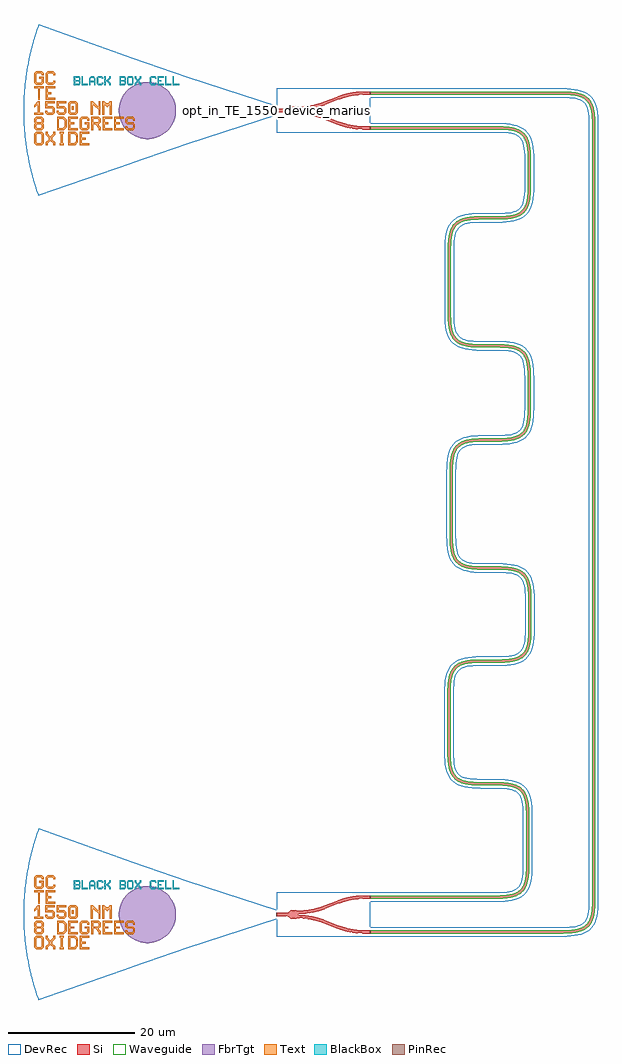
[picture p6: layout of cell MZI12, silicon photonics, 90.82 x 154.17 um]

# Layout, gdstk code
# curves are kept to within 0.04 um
import gdstk
lib = gdstk.Library(unit=1e-6, precision=1e-09)
def R(c, l, rs):  # rectangles x0, y0, x1, y1
    for r in rs: c.add(gdstk.rectangle(r[:2], r[2:], *l))
def P(c, l, *ps):  # polygons
    for p in ps: c.add(gdstk.Polygon(p, *l))
Si = (1, 0)
PinRec = (1, 10)
Waveguide = (1, 99)
Text = (10, 0)
DevRec = (68, 0)
FbrTgt = (81, 0)
BlackBox = (998, 0)

text_1 = lib.new_cell('TEXT$1')
P(text_1, BlackBox, [(0,0),(0,1.4),(0.8,1.4),(1,1.2),(0.2,1.2),(0.2,0.8),(0.7,0.8),(0.8,0.9),(0.8,1.1),(0.7,1.2),(1,1.2),(1,0.8),(0.9,0.7),(1,0.6),(0.2,0.6),(0.2,0.2),(0.7,0.2),(0.8,0.3),(0.8,0.5),(0.7,0.6),(1,0.6),(1,0.2),(0.8,0)],
  [(1.2,0),(1.2,1.4),(1.4,1.4),(1.4,0.2),(2.2,0.2),(2.2,0)],
  [(2.4,0),(2.4,1.1),(2.7,1.4),(3.1,1.4),(3.3,1.2),(2.8,1.2),(2.6,1),(2.6,0.7),(3.2,0.7),(3.2,1),(3,1.2),(3.3,1.2),(3.4,1.1),(3.4,0),(3.2,0),(3.2,0.5),(2.6,0.5),(2.6,0)],
  [(3.8,0),(3.6,0.2),(3.6,1.2),(3.8,1.4),(4.4,1.4),(4.6,1.2),(4.6,1),(4.4,1),(4.4,1.1),(4.3,1.2),(3.9,1.2),(3.8,1.1),(3.8,0.3),(3.9,0.2),(4.3,0.2),(4.4,0.3),(4.4,0.4),(4.6,0.4),(4.6,0.2),(4.4,0)],
  [(4.8,0),(4.8,1.4),(5,1.4),(5,0.8),(5.2,0.8),(5.6,1.2),(5.6,1.4),(5.8,1.4),(5.8,1.1),(5.4,0.7),(5.8,0.3),(5.8,0),(5.6,0),(5.6,0.2),(5.2,0.6),(5,0.6),(5,0)],
  [(7.2,0),(7.2,1.4),(8,1.4),(8.2,1.2),(7.4,1.2),(7.4,0.8),(7.9,0.8),(8,0.9),(8,1.1),(7.9,1.2),(8.2,1.2),(8.2,0.8),(8.1,0.7),(8.2,0.6),(7.4,0.6),(7.4,0.2),(7.9,0.2),(8,0.3),(8,0.5),(7.9,0.6),(8.2,0.6),(8.2,0.2),(8,0)],
  [(8.6,0),(8.4,0.2),(8.4,1.2),(8.6,1.4),(9.2,1.4),(9.4,1.2),(9.4,0.7),(9.2,0.7),(9.2,1.1),(9.1,1.2),(8.7,1.2),(8.6,1.1),(8.6,0.3),(8.7,0.2),(9.1,0.2),(9.2,0.3),(9.2,0.7),(9.4,0.7),(9.4,0.2),(9.2,0)],
  [(9.6,0),(9.6,0.3),(9.9,0.6),(9.9,0.8),(9.6,1.1),(9.6,1.4),(9.8,1.4),(9.8,1.2),(10.1,0.9),(10.4,1.2),(10.4,1.4),(10.6,1.4),(10.6,1.1),(10.3,0.8),(10.3,0.6),(10.6,0.3),(10.6,0),(10.4,0),(10.4,0.2),(10.1,0.5),(9.8,0.2),(9.8,0)],
  [(12.2,0),(12,0.2),(12,1.2),(12.2,1.4),(12.8,1.4),(13,1.2),(13,1),(12.8,1),(12.8,1.1),(12.7,1.2),(12.3,1.2),(12.2,1.1),(12.2,0.3),(12.3,0.2),(12.7,0.2),(12.8,0.3),(12.8,0.4),(13,0.4),(13,0.2),(12.8,0)],
  [(13.2,0),(13.2,1.4),(14.2,1.4),(14.2,1.2),(13.4,1.2),(13.4,0.8),(13.8,0.8),(13.8,0.6),(13.4,0.6),(13.4,0.2),(14.2,0.2),(14.2,0)],
  [(14.4,0),(14.4,1.4),(14.6,1.4),(14.6,0.2),(15.4,0.2),(15.4,0)],
  [(15.6,0),(15.6,1.4),(15.8,1.4),(15.8,0.2),(16.6,0.2),(16.6,0)])

gc_te_1550_8degoxide_bb = lib.new_cell('GC_TE_1550_8degOxide_BB')
R(gc_te_1550_8degoxide_bb, Text, [(-32.313,0.092,-32.013,0.692)])
P(gc_te_1550_8degoxide_bb, Text, [(-37.67,1.71),(-37.67,3.51),(-38.27,3.51),(-38.27,3.81),(-36.77,3.81),(-36.77,3.51),(-37.37,3.51),(-37.37,1.71)],
  [(-37.97,-5.49),(-38.27,-5.19),(-38.27,-3.69),(-37.97,-3.39),(-37.07,-3.39),(-36.77,-3.69),(-36.77,-4.44),(-37.07,-4.44),(-37.07,-3.84),(-37.22,-3.69),(-37.82,-3.69),(-37.97,-3.84),(-37.97,-5.04),(-37.82,-5.19),(-37.22,-5.19),(-37.07,-5.04),(-37.07,-4.44),(-36.77,-4.44),(-36.77,-5.19),(-37.07,-5.49)],
  [(-31.07,-5.49),(-31.07,-3.39),(-29.57,-3.39),(-29.57,-3.69),(-30.77,-3.69),(-30.77,-4.29),(-30.17,-4.29),(-30.17,-4.59),(-30.77,-4.59),(-30.77,-5.19),(-29.57,-5.19),(-29.57,-5.49)],
  [(-32.87,-3.09),(-32.87,-0.99),(-31.37,-0.99),(-31.37,-1.29),(-32.57,-1.29),(-32.57,-1.89),(-31.97,-1.89),(-31.97,-2.19),(-32.57,-2.19),(-32.57,-2.79),(-31.37,-2.79),(-31.37,-3.09)],
  [(-27.47,-3.09),(-27.47,-0.99),(-25.97,-0.99),(-25.97,-1.29),(-27.17,-1.29),(-27.17,-1.89),(-26.57,-1.89),(-26.57,-2.19),(-27.17,-2.19),(-27.17,-2.79),(-25.97,-2.79),(-25.97,-3.09)],
  [(-25.67,-3.09),(-25.67,-0.99),(-24.17,-0.99),(-24.17,-1.29),(-25.37,-1.29),(-25.37,-1.89),(-24.77,-1.89),(-24.77,-2.19),(-25.37,-2.19),(-25.37,-2.79),(-24.17,-2.79),(-24.17,-3.09)],
  [(-36.47,1.71),(-36.47,3.81),(-34.97,3.81),(-34.97,3.51),(-36.17,3.51),(-36.17,2.91),(-35.57,2.91),(-35.57,2.61),(-36.17,2.61),(-36.17,2.01),(-34.97,2.01),(-34.97,1.71)],
  [(-29.313,-0.658),(-29.313,1.442),(-29.013,1.442),(-28.263,0.692),(-28.113,0.692),(-28.113,1.442),(-27.813,1.442),(-27.813,-0.658),(-28.113,-0.658),(-28.113,0.092),(-28.863,0.842),(-29.013,0.842),(-29.013,-0.658)],
  [(-34.22,-5.49),(-34.22,-5.19),(-34.07,-5.19),(-34.07,-3.69),(-34.22,-3.69),(-34.22,-3.39),(-33.62,-3.39),(-33.62,-3.69),(-33.77,-3.69),(-33.77,-5.19),(-33.62,-5.19),(-33.62,-5.49)],
  [(-36.17,4.11),(-36.47,4.41),(-36.47,5.91),(-36.17,6.21),(-35.27,6.21),(-34.97,5.91),(-34.97,5.61),(-35.27,5.61),(-35.27,5.76),(-35.42,5.91),(-36.02,5.91),(-36.17,5.76),(-36.17,4.56),(-36.02,4.41),(-35.42,4.41),(-35.27,4.56),(-35.27,4.71),(-34.97,4.71),(-34.97,4.41),(-35.27,4.11)],
  [(-27.513,-0.658),(-27.513,1.442),(-27.213,1.442),(-26.913,1.142),(-26.613,1.142),(-26.313,1.442),(-26.013,1.442),(-26.013,-0.658),(-26.313,-0.658),(-26.313,0.842),(-26.463,0.842),(-26.763,0.542),(-27.063,0.842),(-27.213,0.842),(-27.213,-0.658)],
  [(-32.613,-0.658),(-32.913,-0.358),(-32.913,1.142),(-32.613,1.442),(-31.713,1.442),(-31.413,1.142),(-32.463,1.142),(-32.613,0.992),(-32.613,-0.208),(-32.463,-0.358),(-31.863,-0.358),(-31.713,-0.208),(-31.713,0.992),(-31.863,1.142),(-31.413,1.142),(-31.413,-0.358),(-31.713,-0.658)],
  [(-32.87,-5.49),(-32.87,-3.39),(-31.82,-3.39),(-31.52,-3.69),(-32.57,-3.69),(-32.57,-5.19),(-31.97,-5.19),(-31.67,-4.89),(-31.67,-3.99),(-31.97,-3.69),(-31.52,-3.69),(-31.37,-3.84),(-31.37,-5.04),(-31.82,-5.49)],
  [(-34.67,-3.09),(-34.67,-0.99),(-33.62,-0.99),(-33.32,-1.29),(-34.37,-1.29),(-34.37,-2.79),(-33.77,-2.79),(-33.47,-2.49),(-33.47,-1.59),(-33.77,-1.29),(-33.32,-1.29),(-33.17,-1.44),(-33.17,-2.64),(-33.62,-3.09)],
  [(-23.57,-3.09),(-23.87,-2.79),(-23.87,-2.49),(-23.57,-2.49),(-23.57,-2.64),(-23.42,-2.79),(-22.82,-2.79),(-22.67,-2.64),(-22.67,-2.34),(-22.82,-2.19),(-23.57,-2.19),(-23.87,-1.89),(-23.87,-1.29),(-23.57,-0.99),(-22.67,-0.99),(-22.37,-1.29),(-22.37,-1.59),(-22.67,-1.59),(-22.67,-1.44),(-22.82,-1.29),(-23.42,-1.29),(-23.57,-1.44),(-23.57,-1.74),(-23.42,-1.89),(-22.67,-1.89),(-22.37,-2.19),(-22.37,-2.79),(-22.67,-3.09)],
  [(-36.213,-0.658),(-36.513,-0.358),(-36.513,-0.058),(-36.213,-0.058),(-36.213,-0.208),(-36.063,-0.358),(-35.463,-0.358),(-35.313,-0.208),(-35.313,0.242),(-35.463,0.392),(-36.513,0.392),(-36.513,1.442),(-35.013,1.442),(-35.013,1.142),(-36.213,1.142),(-36.213,0.692),(-35.313,0.692),(-35.013,0.392),(-35.013,-0.358),(-35.313,-0.658)],
  [(-34.413,-0.658),(-34.713,-0.358),(-34.713,-0.058),(-34.413,-0.058),(-34.413,-0.208),(-34.263,-0.358),(-33.663,-0.358),(-33.513,-0.208),(-33.513,0.242),(-33.663,0.392),(-34.713,0.392),(-34.713,1.442),(-33.213,1.442),(-33.213,1.142),(-34.413,1.142),(-34.413,0.692),(-33.513,0.692),(-33.213,0.392),(-33.213,-0.358),(-33.513,-0.658)],
  [(-37.97,-3.09),(-38.27,-2.79),(-38.27,-2.19),(-38.12,-2.04),(-38.27,-1.89),(-38.27,-1.29),(-37.97,-0.99),(-37.07,-0.99),(-36.77,-1.29),(-37.82,-1.29),(-37.97,-1.44),(-37.97,-1.74),(-37.82,-1.89),(-37.22,-1.89),(-37.07,-1.74),(-37.07,-1.44),(-37.22,-1.29),(-36.77,-1.29),(-36.77,-1.89),(-36.92,-2.04),(-36.77,-2.19),(-37.82,-2.19),(-37.97,-2.34),(-37.97,-2.64),(-37.82,-2.79),(-37.22,-2.79),(-37.07,-2.64),(-37.07,-2.34),(-37.22,-2.19),(-36.77,-2.19),(-36.77,-2.79),(-37.07,-3.09)],
  [(-38.313,-0.658),(-38.313,-0.358),(-37.713,-0.358),(-37.713,0.842),(-37.863,0.842),(-38.163,0.542),(-38.313,0.542),(-38.313,0.842),(-37.713,1.442),(-37.413,1.442),(-37.413,-0.358),(-36.813,-0.358),(-36.813,-0.658)],
  [(-36.47,-5.49),(-36.47,-5.04),(-36.02,-4.59),(-36.02,-4.29),(-36.47,-3.84),(-36.47,-3.39),(-36.17,-3.39),(-36.17,-3.69),(-35.72,-4.14),(-35.27,-3.69),(-35.27,-3.39),(-34.97,-3.39),(-34.97,-3.84),(-35.42,-4.29),(-35.42,-4.59),(-34.97,-5.04),(-34.97,-5.49),(-35.27,-5.49),(-35.27,-5.19),(-35.72,-4.74),(-36.17,-5.19),(-36.17,-5.49)],
  [(-30.77,-3.09),(-31.07,-2.79),(-31.07,-1.29),(-30.77,-0.99),(-29.87,-0.99),(-29.57,-1.29),(-29.57,-1.59),(-29.87,-1.59),(-29.87,-1.44),(-30.02,-1.29),(-30.62,-1.29),(-30.77,-1.44),(-30.77,-2.64),(-30.62,-2.79),(-30.02,-2.79),(-29.87,-2.64),(-29.87,-2.19),(-30.32,-2.19),(-30.32,-1.89),(-29.57,-1.89),(-29.57,-2.79),(-29.87,-3.09)],
  [(-37.97,4.11),(-38.27,4.41),(-38.27,5.91),(-37.97,6.21),(-37.07,6.21),(-36.77,5.91),(-36.77,5.61),(-37.07,5.61),(-37.07,5.76),(-37.22,5.91),(-37.82,5.91),(-37.97,5.76),(-37.97,4.56),(-37.82,4.41),(-37.22,4.41),(-37.07,4.56),(-37.07,5.01),(-37.52,5.01),(-37.52,5.31),(-36.77,5.31),(-36.77,4.41),(-37.07,4.11)],
  [(-29.27,-3.09),(-29.27,-0.99),(-28.07,-0.99),(-27.77,-1.29),(-28.97,-1.29),(-28.97,-1.89),(-28.22,-1.89),(-28.07,-1.74),(-28.07,-1.44),(-28.22,-1.29),(-27.77,-1.29),(-27.77,-1.89),(-28.07,-2.19),(-28.07,-2.34),(-27.77,-2.64),(-27.77,-3.09),(-28.07,-3.09),(-28.07,-2.79),(-28.67,-2.19),(-28.97,-2.19),(-28.97,-3.09)])
P(gc_te_1550_8degoxide_bb, DevRec, [(-37.607,-13.5),(-38.627,-10.245),(-39.378,-6.832),(-39.647,-5.058),(-39.835,-3.274),(-39.969,0.224),(-39.812,3.541),(-39.331,7.097),(-38.557,10.505),(-37.546,13.669),(-22.8,8.353),(-14.109,5.36),(0,0.75),(0,-0.75),(-14.109,-5.36)])
P(gc_te_1550_8degoxide_bb, FbrTgt, [(-20.621,-4.5),(-21.495,-4.37),(-22.326,-4.073),(-23.084,-3.619),(-23.738,-3.026),(-24.264,-2.316),(-24.642,-1.518),(-24.857,-0.661),(-24.9,0.221),(-24.77,1.095),(-24.473,1.926),(-24.019,2.684),(-23.426,3.338),(-22.716,3.864),(-21.918,4.242),(-21.061,4.457),(-20.179,4.5),(-19.305,4.37),(-18.474,4.073),(-17.716,3.619),(-17.062,3.026),(-16.536,2.316),(-16.158,1.518),(-15.943,0.661),(-15.9,-0.221),(-16.03,-1.095),(-16.327,-1.926),(-16.781,-2.684),(-17.374,-3.338),(-18.084,-3.864),(-18.882,-4.242),(-19.739,-4.457)])
gc_te_1550_8degoxide_bb.add(gdstk.FlexPath([(-0.01,0),(0.01,0)], 0.5, ends="flush", simple_path=True, layer=1, datatype=10))  # PinRec
gc_te_1550_8degoxide_bb.add(gdstk.Reference(text_1, (-32,4)))
gc_te_1550_8degoxide_bb.add(gdstk.Label('opt1', (0,0), layer=1, texttype=10))
gc_te_1550_8degoxide_bb.add(gdstk.Label('Component=GC_TE_1550_8degOxide_BB', (-28,-5), layer=68, texttype=0))

ebeam_y_1550 = lib.new_cell('ebeam_y_1550')
R(ebeam_y_1550, Si, [(6.5,-3,7.4,-2.5), (-7.4,-0.25,-6,0.25), (6.5,2.5,7.4,3)])
P(ebeam_y_1550, Si, [(6.458,-3),(6.237,-2.997),(6.237,-2.497),(6.5,-2.5),(6.5,-3)],
  [(5.033,-2.908),(3.59,-2.634),(2.265,-2.21),(2.445,-1.744),(3.731,-2.154),(5.033,-2.404)],
  [(6.233,-2.997),(5.033,-2.908),(5.033,-2.404),(6.237,-2.497)],
  [(2.265,-2.21),(0.055,-1.356),(0.235,-0.89),(2.445,-1.744)],
  [(-0.762,-1.076),(-2.334,-0.724),(-4,-0.6),(-4,-0.1),(-2.381,-0.212),(-0.762,-0.555)],
  [(0.055,-1.356),(-0.762,-1.076),(-0.762,-0.555),(0.235,-0.89)],
  [(6.237,2.497),(6.237,2.997),(6.5,3),(6.5,2.5)],
  [(2.445,1.744),(2.267,2.211),(3.59,2.634),(5.033,2.908),(5.033,2.404),(3.731,2.154)],
  [(5.033,2.404),(5.033,2.908),(6.237,2.997),(6.237,2.497)],
  [(0.235,0.89),(0.055,1.356),(2.265,2.21),(2.445,1.744)],
  [(-4,0.1),(-4,0.6),(-2.334,0.724),(-0.762,1.076),(-0.762,0.555),(-2.381,0.212)],
  [(-0.762,0.555),(-0.762,1.076),(0.055,1.356),(0.235,0.89)],
  [(-5.122,-0.662),(-5.442,-0.374),(-5.808,-0.255),(-6,-0.25),(-6,0.25),(-5.817,0.253),(-5.442,0.374),(-5.122,0.662)],
  [(-4.957,-0.703),(-5.122,-0.662),(-5.122,0.662),(-4.538,0.703),(-4,0.6),(-4,-0.6),(-4.509,-0.701)])
R(ebeam_y_1550, DevRec, [(-7.4,-3.5,7.4,3.5)])
ebeam_y_1550.add(gdstk.FlexPath([(-7.35,0),(-7.45,0)], 0.5, ends="flush", simple_path=True, layer=1, datatype=10))  # PinRec
ebeam_y_1550.add(gdstk.FlexPath([(7.35,2.75),(7.45,2.75)], 0.5, ends="flush", simple_path=True, layer=1, datatype=10))  # PinRec
ebeam_y_1550.add(gdstk.FlexPath([(7.35,-2.75),(7.45,-2.75)], 0.5, ends="flush", simple_path=True, layer=1, datatype=10))  # PinRec
ebeam_y_1550.add(gdstk.Label('opt2', (7.4,2.75), layer=1, texttype=10))
ebeam_y_1550.add(gdstk.Label('opt3', (7.4,-2.75), layer=1, texttype=10))
ebeam_y_1550.add(gdstk.Label('opt1', (-7.4,0), layer=1, texttype=10))
ebeam_y_1550.add(gdstk.Label('Component=ebeam_y_1550', (-6,1.5), layer=68, texttype=0))
ebeam_y_1550.add(gdstk.Label('Lumerical_INTERCONNECT_library=Design kits/ebeam', (-6.86,-2.19), layer=68, texttype=0))
ebeam_y_1550.add(gdstk.Label('Ref: Y Zhang, Opt. Express, 21/1, 2013', (-7.5,-1), layer=10, texttype=0))

waveguide_18 = lib.new_cell('Waveguide$18')
P(waveguide_18, Si, [(54.769,10.5),(54.769,11),(86.278,11.039),(87.551,11.229),(88.165,11.437),(88.565,11.657),(88.894,11.927),(89.165,12.257),(89.385,12.657),(89.593,13.271),(89.768,14.365),(89.821,15.75),(89.821,138.25),(89.767,139.636),(89.592,140.73),(89.384,141.344),(89.164,141.744),(88.894,142.073),(88.564,142.344),(88.164,142.564),(87.55,142.772),(86.277,142.962),(54.769,143),(54.769,143.5),(85.292,143.499),(86.684,143.427),(87.674,143.256),(88.368,143.02),(88.842,142.76),(89.248,142.427),(89.651,141.911),(89.895,141.418),(90.113,140.7),(90.247,139.864),(90.316,138.688),(90.321,15.75),(90.266,14.319),(90.077,13.147),(89.841,12.453),(89.581,11.979),(89.248,11.573),(88.843,11.241),(88.369,10.981),(87.822,10.785),(86.314,10.541)])
P(waveguide_18, Waveguide, [(54.769,10.5),(54.769,11),(86.278,11.039),(87.551,11.229),(88.165,11.437),(88.565,11.657),(88.894,11.927),(89.165,12.257),(89.385,12.657),(89.593,13.271),(89.768,14.365),(89.821,15.75),(89.821,138.25),(89.767,139.636),(89.592,140.73),(89.384,141.344),(89.164,141.744),(88.894,142.073),(88.564,142.344),(88.164,142.564),(87.55,142.772),(86.277,142.962),(54.769,143),(54.769,143.5),(85.292,143.499),(86.684,143.427),(87.674,143.256),(88.368,143.02),(88.842,142.76),(89.248,142.427),(89.651,141.911),(89.895,141.418),(90.113,140.7),(90.247,139.864),(90.316,138.688),(90.321,15.75),(90.266,14.319),(90.077,13.147),(89.841,12.453),(89.581,11.979),(89.248,11.573),(88.843,11.241),(88.369,10.981),(87.822,10.785),(86.314,10.541)])
P(waveguide_18, DevRec, [(54.769,10),(54.769,11.5),(85.071,11.5),(86.302,11.543),(87.265,11.676),(88.23,12.036),(88.447,12.193),(88.786,12.592),(89.146,13.557),(89.279,14.52),(89.321,15.75),(89.321,138.25),(89.223,139.995),(89.045,140.826),(88.925,141.146),(88.628,141.626),(88.446,141.808),(87.966,142.105),(86.815,142.403),(85.72,142.49),(54.769,142.5),(54.769,144),(85.071,144),(86.421,143.954),(87.58,143.791),(88.58,143.473),(89.021,143.239),(89.42,142.948),(90.059,142.201),(90.293,141.76),(90.611,140.76),(90.81,138.952),(90.821,15.75),(90.775,14.4),(90.612,13.241),(90.294,12.241),(90.06,11.8),(89.421,11.053),(89.022,10.762),(88.099,10.346),(87.581,10.21),(86.422,10.047),(85.084,10)])
waveguide_18.add(gdstk.FlexPath([(54.779,143.25),(54.759,143.25)], 0.5, ends="flush", simple_path=True, layer=1, datatype=10))  # PinRec
waveguide_18.add(gdstk.FlexPath([(54.779,10.75),(54.759,10.75)], 0.5, ends="flush", simple_path=True, layer=1, datatype=10))  # PinRec
waveguide_18.add(gdstk.Label('opt1', (54.769,143.25), layer=1, texttype=10))
waveguide_18.add(gdstk.Label('opt2', (54.769,10.75), layer=1, texttype=10))
waveguide_18.add(gdstk.Label('Lumerical_INTERCONNECT_library=Design kits/EBeam', (54.769,143.15), layer=68, texttype=0))
waveguide_18.add(gdstk.Label('Component=ebeam_wg_integral_1550', (54.769,143.35), layer=68, texttype=0))
waveguide_18.add(gdstk.Label('cellName=Waveguide', (54.769,143.45), layer=68, texttype=0))
waveguide_18.add(gdstk.Label('Spice_param:wg_length=0.000200001 wg_width=5e-07 points="[[54.769,143.25],[90.071,143.25],[90.071,10.75],[54.769,10.75]]" radius=5e-06', (54.769,143.25), layer=68, texttype=0))
waveguide_18.add(gdstk.Label('Length=200.001 (microns)', (54.769,142.65), layer=68, texttype=0))
waveguide_18.add(gdstk.Label('waveguide_type=Strip TE 1550 nm, w=500 nm', (54.769,143.05), layer=68, texttype=0))

waveguide_19 = lib.new_cell('Waveguide$19')
P(waveguide_19, Si, [(54.769,16),(54.769,16.5),(74.639,16.5),(76.368,16.591),(77.504,16.845),(77.943,17.041),(78.386,17.354),(78.733,17.757),(78.953,18.157),(79.252,19.206),(79.388,21.033),(79.384,29.578),(79.276,31.04),(78.999,32.132),(78.732,32.644),(78.306,33.116),(77.839,33.413),(77.251,33.636),(76.528,33.788),(75.66,33.873),(71.561,33.91),(70.078,34.046),(69.315,34.228),(68.665,34.503),(68.126,34.884),(67.776,35.27),(67.439,35.853),(67.243,36.4),(67.077,37.187),(66.986,38.101),(66.959,48.533),(67.054,50.321),(67.334,51.563),(67.777,52.411),(68.127,52.797),(68.549,53.111),(69.459,53.496),(70.596,53.707),(71.772,53.776),(75.819,53.798),(76.718,53.871),(77.469,54.009),(78.293,54.321),(78.812,54.707),(79.199,55.227),(79.511,56.051),(79.649,56.802),(79.73,57.899),(79.721,64.06),(79.648,64.959),(79.51,65.71),(79.302,66.324),(78.954,66.898),(78.571,67.261),(78.082,67.544),(77.468,67.752),(76.878,67.868),(75.62,67.971),(71.508,68.008),(69.954,68.225),(69.135,68.52),(68.574,68.879),(68.125,69.35),(67.788,69.933),(67.453,71.1),(67.317,72.583),(67.308,83.463),(67.403,85.251),(67.683,86.493),(67.911,87.004),(68.207,87.444),(68.575,87.812),(69.015,88.108),(69.955,88.466),(71.127,88.655),(75.521,88.72),(76.934,88.848),(77.631,89.014),(78.193,89.251),(78.557,89.495),(78.92,89.878),(79.203,90.367),(79.375,90.848),(79.601,92.254),(79.639,98.32),(79.548,100.049),(79.335,101.062),(78.982,101.814),(78.471,102.351),(77.753,102.726),(77.085,102.905),(76.095,103.032),(71.621,103.08),(70.138,103.216),(69.375,103.398),(68.725,103.673),(68.186,104.054),(67.759,104.549),(67.499,105.023),(67.263,105.717),(67.046,107.271),(67.019,118.543),(67.114,120.331),(67.394,121.573),(67.622,122.084),(67.918,122.524),(68.286,122.892),(68.726,123.188),(69.666,123.546),(70.838,123.735),(75.531,123.8),(76.944,123.928),(77.641,124.094),(78.203,124.331),(78.567,124.575),(78.93,124.958),(79.213,125.447),(79.421,126.061),(79.559,126.812),(79.632,127.711),(79.644,133.178),(79.595,134.136),(79.453,135.092),(79.108,136.054),(78.864,136.418),(78.481,136.781),(77.64,137.197),(76.284,137.447),(74.899,137.5),(54.769,137.5),(54.769,138),(75.12,137.999),(77.029,137.855),(78.196,137.52),(78.981,137.017),(79.546,136.294),(79.774,135.783),(79.941,135.2),(80.075,134.364),(80.139,133.398),(80.148,128.319),(80.055,126.75),(79.822,125.647),(79.48,124.88),(79.076,124.363),(78.56,123.96),(77.793,123.618),(77.03,123.436),(75.949,123.318),(71.638,123.281),(70.225,123.153),(69.528,122.987),(68.966,122.75),(68.523,122.437),(68.176,122.034),(67.956,121.634),(67.748,121.02),(67.61,120.269),(67.537,119.37),(67.557,107.114),(67.747,105.841),(68.059,105.017),(68.303,104.653),(68.601,104.355),(69.287,103.96),(70.072,103.736),(71.062,103.609),(75.536,103.561),(77.019,103.425),(77.782,103.243),(78.311,103.031),(78.769,102.753),(79.24,102.304),(79.536,101.864),(79.811,101.214),(79.993,100.451),(80.098,99.563),(80.138,93.239),(80.021,91.497),(79.765,90.428),(79.399,89.689),(78.77,89.028),(78.057,88.636),(77.182,88.386),(76.132,88.251),(71.927,88.201),(70.514,88.073),(69.817,87.907),(69.255,87.67),(68.812,87.357),(68.465,86.954),(68.245,86.554),(68.037,85.94),(67.899,85.189),(67.826,84.29),(67.817,72.599),(67.945,71.186),(68.244,70.137),(68.464,69.737),(68.735,69.407),(69.064,69.137),(69.464,68.917),(70.216,68.676),(71.351,68.519),(75.636,68.471),(77.119,68.335),(77.882,68.153),(78.411,67.941),(78.869,67.663),(79.34,67.214),(79.636,66.774),(79.911,66.124),(80.183,64.662),(80.239,63.233),(80.238,58.309),(80.184,57.099),(79.955,55.78),(79.57,54.87),(78.973,54.179),(78.157,53.706),(77.282,53.456),(76.232,53.321),(71.578,53.271),(70.165,53.143),(69.468,52.977),(68.906,52.74),(68.463,52.427),(68.116,52.024),(67.896,51.624),(67.688,51.01),(67.55,50.259),(67.477,49.36),(67.463,38.723),(67.571,37.261),(67.848,36.169),(68.312,35.404),(68.626,35.12),(69.008,34.888),(69.867,34.596),(71.002,34.439),(75.286,34.391),(76.931,34.225),(77.671,34.026),(78.299,33.731),(78.816,33.327),(79.219,32.811),(79.463,32.318),(79.681,31.6),(79.815,30.764),(79.879,29.798),(79.888,21.029),(79.744,19.12),(79.562,18.357),(79.35,17.828),(79.072,17.37),(78.722,16.984),(78.3,16.67),(77.807,16.426),(77.243,16.245),(76.43,16.095),(74.642,16)])
P(waveguide_19, Waveguide, [(54.769,16),(54.769,16.5),(74.639,16.5),(76.368,16.591),(77.504,16.845),(77.943,17.041),(78.386,17.354),(78.733,17.757),(78.953,18.157),(79.252,19.206),(79.388,21.033),(79.384,29.578),(79.276,31.04),(78.999,32.132),(78.732,32.644),(78.306,33.116),(77.839,33.413),(77.251,33.636),(76.528,33.788),(75.66,33.873),(71.561,33.91),(70.078,34.046),(69.315,34.228),(68.665,34.503),(68.126,34.884),(67.776,35.27),(67.439,35.853),(67.243,36.4),(67.077,37.187),(66.986,38.101),(66.959,48.533),(67.054,50.321),(67.334,51.563),(67.777,52.411),(68.127,52.797),(68.549,53.111),(69.459,53.496),(70.596,53.707),(71.772,53.776),(75.819,53.798),(76.718,53.871),(77.469,54.009),(78.293,54.321),(78.812,54.707),(79.199,55.227),(79.511,56.051),(79.649,56.802),(79.73,57.899),(79.721,64.06),(79.648,64.959),(79.51,65.71),(79.302,66.324),(78.954,66.898),(78.571,67.261),(78.082,67.544),(77.468,67.752),(76.878,67.868),(75.62,67.971),(71.508,68.008),(69.954,68.225),(69.135,68.52),(68.574,68.879),(68.125,69.35),(67.788,69.933),(67.453,71.1),(67.317,72.583),(67.308,83.463),(67.403,85.251),(67.683,86.493),(67.911,87.004),(68.207,87.444),(68.575,87.812),(69.015,88.108),(69.955,88.466),(71.127,88.655),(75.521,88.72),(76.934,88.848),(77.631,89.014),(78.193,89.251),(78.557,89.495),(78.92,89.878),(79.203,90.367),(79.375,90.848),(79.601,92.254),(79.639,98.32),(79.548,100.049),(79.335,101.062),(78.982,101.814),(78.471,102.351),(77.753,102.726),(77.085,102.905),(76.095,103.032),(71.621,103.08),(70.138,103.216),(69.375,103.398),(68.725,103.673),(68.186,104.054),(67.759,104.549),(67.499,105.023),(67.263,105.717),(67.046,107.271),(67.019,118.543),(67.114,120.331),(67.394,121.573),(67.622,122.084),(67.918,122.524),(68.286,122.892),(68.726,123.188),(69.666,123.546),(70.838,123.735),(75.531,123.8),(76.944,123.928),(77.641,124.094),(78.203,124.331),(78.567,124.575),(78.93,124.958),(79.213,125.447),(79.421,126.061),(79.559,126.812),(79.632,127.711),(79.644,133.178),(79.595,134.136),(79.453,135.092),(79.108,136.054),(78.864,136.418),(78.481,136.781),(77.64,137.197),(76.284,137.447),(74.899,137.5),(54.769,137.5),(54.769,138),(75.12,137.999),(77.029,137.855),(78.196,137.52),(78.981,137.017),(79.546,136.294),(79.774,135.783),(79.941,135.2),(80.075,134.364),(80.139,133.398),(80.148,128.319),(80.055,126.75),(79.822,125.647),(79.48,124.88),(79.076,124.363),(78.56,123.96),(77.793,123.618),(77.03,123.436),(75.949,123.318),(71.638,123.281),(70.225,123.153),(69.528,122.987),(68.966,122.75),(68.523,122.437),(68.176,122.034),(67.956,121.634),(67.748,121.02),(67.61,120.269),(67.537,119.37),(67.557,107.114),(67.747,105.841),(68.059,105.017),(68.303,104.653),(68.601,104.355),(69.287,103.96),(70.072,103.736),(71.062,103.609),(75.536,103.561),(77.019,103.425),(77.782,103.243),(78.311,103.031),(78.769,102.753),(79.24,102.304),(79.536,101.864),(79.811,101.214),(79.993,100.451),(80.098,99.563),(80.138,93.239),(80.021,91.497),(79.765,90.428),(79.399,89.689),(78.77,89.028),(78.057,88.636),(77.182,88.386),(76.132,88.251),(71.927,88.201),(70.514,88.073),(69.817,87.907),(69.255,87.67),(68.812,87.357),(68.465,86.954),(68.245,86.554),(68.037,85.94),(67.899,85.189),(67.826,84.29),(67.817,72.599),(67.945,71.186),(68.244,70.137),(68.464,69.737),(68.735,69.407),(69.064,69.137),(69.464,68.917),(70.216,68.676),(71.351,68.519),(75.636,68.471),(77.119,68.335),(77.882,68.153),(78.411,67.941),(78.869,67.663),(79.34,67.214),(79.636,66.774),(79.911,66.124),(80.183,64.662),(80.239,63.233),(80.238,58.309),(80.184,57.099),(79.955,55.78),(79.57,54.87),(78.973,54.179),(78.157,53.706),(77.282,53.456),(76.232,53.321),(71.578,53.271),(70.165,53.143),(69.468,52.977),(68.906,52.74),(68.463,52.427),(68.116,52.024),(67.896,51.624),(67.688,51.01),(67.55,50.259),(67.477,49.36),(67.463,38.723),(67.571,37.261),(67.848,36.169),(68.312,35.404),(68.626,35.12),(69.008,34.888),(69.867,34.596),(71.002,34.439),(75.286,34.391),(76.931,34.225),(77.671,34.026),(78.299,33.731),(78.816,33.327),(79.219,32.811),(79.463,32.318),(79.681,31.6),(79.815,30.764),(79.879,29.798),(79.888,21.029),(79.744,19.12),(79.562,18.357),(79.35,17.828),(79.072,17.37),(78.722,16.984),(78.3,16.67),(77.807,16.426),(77.243,16.245),(76.43,16.095),(74.642,16)])
P(waveguide_19, DevRec, [(54.769,15.5),(54.769,17),(74.639,17),(76.384,17.098),(77.215,17.276),(77.535,17.396),(78.015,17.693),(78.197,17.875),(78.494,18.355),(78.714,19.057),(78.847,20.02),(78.889,21.251),(78.878,29.8),(78.791,30.895),(78.493,32.046),(78.196,32.526),(77.797,32.865),(76.832,33.225),(75.288,33.39),(71.507,33.411),(70.256,33.512),(69.181,33.746),(68.699,33.928),(67.859,34.453),(67.511,34.801),(67.22,35.2),(66.804,36.123),(66.668,36.641),(66.505,37.8),(66.459,39.149),(66.459,48.543),(66.571,50.483),(66.805,51.558),(67.221,52.481),(67.512,52.88),(68.259,53.519),(69.182,53.935),(69.7,54.071),(70.859,54.234),(75.639,54.291),(77.183,54.456),(77.885,54.676),(78.365,54.973),(78.547,55.155),(78.844,55.635),(79.064,56.337),(79.229,57.881),(79.228,63.88),(79.063,65.424),(78.843,66.126),(78.546,66.606),(78.364,66.788),(77.884,67.085),(76.733,67.383),(75.638,67.47),(71.207,67.527),(70.048,67.69),(69.53,67.826),(68.607,68.242),(67.86,68.881),(67.569,69.28),(67.153,70.203),(66.919,71.278),(66.808,73.229),(66.819,84.162),(67.018,85.97),(67.336,86.97),(67.861,87.81),(68.209,88.158),(68.608,88.449),(69.531,88.865),(70.049,89.001),(71.208,89.164),(75.539,89.221),(76.634,89.308),(77.785,89.606),(78.265,89.903),(78.447,90.085),(78.744,90.565),(78.864,90.885),(79.097,92.23),(79.139,98.32),(79.041,100.065),(78.863,100.896),(78.603,101.479),(78.446,101.696),(78.047,102.035),(77.464,102.295),(76.119,102.528),(71.567,102.581),(69.759,102.78),(68.759,103.098),(68.318,103.332),(67.919,103.623),(67.28,104.37),(67.046,104.811),(66.728,105.811),(66.529,107.619),(66.519,118.553),(66.631,120.493),(66.865,121.568),(67.281,122.491),(67.572,122.89),(68.319,123.529),(69.242,123.945),(69.76,124.081),(70.919,124.244),(75.549,124.301),(76.644,124.388),(77.795,124.686),(78.275,124.983),(78.457,125.165),(78.754,125.645),(78.974,126.347),(79.139,127.891),(79.138,133.4),(78.973,134.944),(78.613,135.909),(78.456,136.126),(78.057,136.465),(77.092,136.825),(76.129,136.958),(54.769,137),(54.769,138.5),(74.899,138.5),(76.249,138.454),(77.408,138.291),(78.408,137.973),(79.248,137.448),(79.887,136.701),(80.121,136.26),(80.439,135.26),(80.638,133.452),(80.649,128.538),(80.538,126.588),(80.304,125.513),(79.888,124.59),(79.597,124.191),(78.85,123.552),(77.927,123.136),(77.409,123),(76.25,122.837),(71.62,122.78),(70.525,122.693),(69.374,122.395),(68.894,122.098),(68.555,121.699),(68.195,120.734),(68.03,119.19),(68.061,107.09),(68.194,106.127),(68.414,105.425),(68.711,104.945),(68.893,104.763),(69.373,104.466),(70.075,104.246),(71.038,104.113),(75.59,104.06),(76.841,103.959),(77.916,103.725),(78.398,103.543),(79.238,103.018),(79.586,102.67),(79.877,102.271),(80.293,101.348),(80.429,100.83),(80.592,99.671),(80.639,93.459),(80.528,91.508),(80.294,90.433),(79.878,89.51),(79.239,88.763),(78.399,88.238),(77.399,87.92),(76.24,87.757),(71.909,87.7),(70.814,87.613),(69.663,87.315),(69.183,87.018),(68.844,86.619),(68.484,85.654),(68.319,84.11),(68.318,72.581),(68.405,71.486),(68.703,70.335),(69,69.855),(69.182,69.673),(69.662,69.376),(70.364,69.156),(71.327,69.023),(75.69,68.97),(77.498,68.771),(78.498,68.453),(78.939,68.219),(79.686,67.58),(79.977,67.181),(80.393,66.258),(80.529,65.74),(80.692,64.581),(80.739,63.243),(80.693,57.18),(80.53,56.021),(80.394,55.503),(79.978,54.58),(79.339,53.833),(78.499,53.308),(77.499,52.99),(76.34,52.827),(71.56,52.77),(70.465,52.683),(69.314,52.385),(68.834,52.088),(68.495,51.689),(68.135,50.724),(67.97,49.18),(67.969,38.501),(68.056,37.406),(68.354,36.255),(68.651,35.775),(68.833,35.593),(69.313,35.296),(70.015,35.076),(70.978,34.943),(75.34,34.89),(77.148,34.691),(78.148,34.373),(78.589,34.139),(78.988,33.848),(79.627,33.101),(79.861,32.66),(80.179,31.66),(80.378,29.852),(80.379,20.549),(80.18,18.741),(79.862,17.741),(79.628,17.3),(78.989,16.553),(78.149,16.028),(77.667,15.846),(76.592,15.612),(74.652,15.5)])
waveguide_19.add(gdstk.FlexPath([(54.779,137.75),(54.759,137.75)], 0.5, ends="flush", simple_path=True, layer=1, datatype=10))  # PinRec
waveguide_19.add(gdstk.FlexPath([(54.779,16.25),(54.759,16.25)], 0.5, ends="flush", simple_path=True, layer=1, datatype=10))  # PinRec
waveguide_19.add(gdstk.Label('opt1', (54.769,137.75), layer=1, texttype=10))
waveguide_19.add(gdstk.Label('opt2', (54.769,16.25), layer=1, texttype=10))
waveguide_19.add(gdstk.Label('Lumerical_INTERCONNECT_library=Design kits/EBeam', (54.769,137.65), layer=68, texttype=0))
waveguide_19.add(gdstk.Label('Component=ebeam_wg_integral_1550', (54.769,137.85), layer=68, texttype=0))
waveguide_19.add(gdstk.Label('cellName=Waveguide', (54.769,137.95), layer=68, texttype=0))
waveguide_19.add(gdstk.Label('Length=224.999 (microns)', (54.769,137.15), layer=68, texttype=0))
waveguide_19.add(gdstk.Label('waveguide_type=Strip TE 1550 nm, w=500 nm', (54.769,137.55), layer=68, texttype=0))

mzi12 = lib.new_cell('MZI12')
mzi12.add(gdstk.Reference(gc_te_1550_8degoxide_bb, (39.969,13.5)))
mzi12.add(gdstk.Reference(gc_te_1550_8degoxide_bb, (39.969,140.5)))
mzi12.add(gdstk.Reference(ebeam_y_1550, (47.369,140.5)))
mzi12.add(gdstk.Reference(ebeam_y_1550, (47.369,13.5)))
mzi12.add(gdstk.Reference(waveguide_18, (0,0)))
mzi12.add(gdstk.Reference(waveguide_19, (0,0)))
mzi12.add(gdstk.Label('opt_in_TE_1550_device_mariusminnen_MZI12', (39.959,140.5), layer=10, texttype=0))

lib.write_gds('MZI12.gds')
